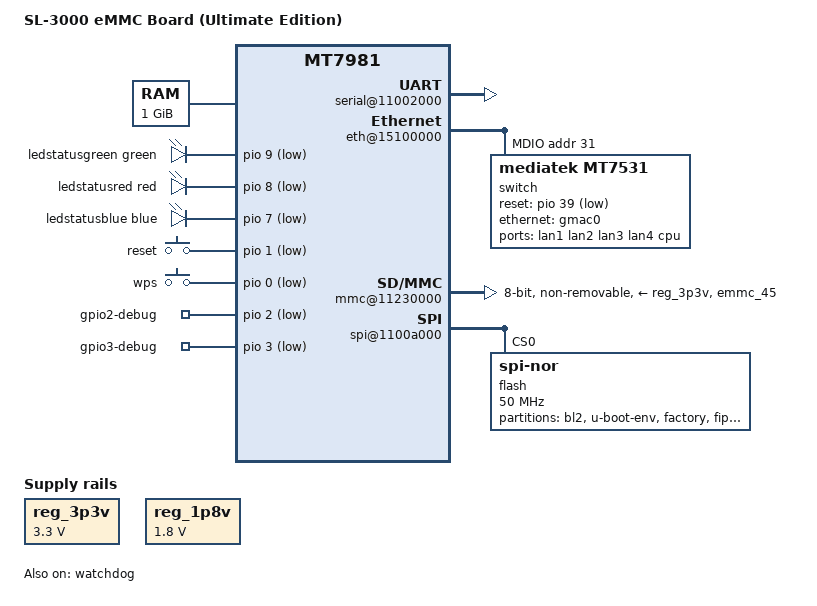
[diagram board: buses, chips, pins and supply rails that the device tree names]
/dts-v1/;

/* ===== dt-bindings（Linux 6.12 官方路径） ===== */
#include <dt-bindings/gpio/gpio.h>
#include <dt-bindings/input/linux-event-codes.h>
#include <dt-bindings/leds/common.h>
#include <dt-bindings/interrupt-controller/irq.h>
#include <dt-bindings/pinctrl/mt65xx.h>

/* ===== SoC 基础层 ===== */
#include "../../../../../arch/arm64/boot/dts/mediatek/mt7981b.dtsi"

/ {
	model = "SL-3000 eMMC Board (Ultimate Edition)";
	compatible = "sl,sl3000-emmc", "mediatek,mt7981";

	/* ===========================
	 * 内存（1GB）
	 =========================== */
	memory@40000000 {
		device_type = "memory";
		reg = <0 0x40000000 0 0x40000000>;
	};

	/* ===========================
	 * 电源（WiFi / eMMC / SPI NOR）
	 =========================== */
	reg_3p3v: regulator-3p3v {
		compatible = "regulator-fixed";
		regulator-name = "fixed-3.3v";
		regulator-min-microvolt = <3300000>;
		regulator-max-microvolt = <3300000>;
		regulator-always-on;
	};

	reg_1p8v: regulator-1p8v {
		compatible = "regulator-fixed";
		regulator-name = "fixed-1.8v";
		regulator-min-microvolt = <1800000>;
		regulator-max-microvolt = <1800000>;
		regulator-always-on;
	};

	/* ===========================
	 * CPU OPP 表（本地定义）
	 =========================== */
	cpuopptable: cpu-opp-table {
		compatible = "operating-points-v2";

		opp-650000000 {
			opp-hz = /bits/ 64 <650000000>;
			opp-microvolt = <800000>;
		};

		opp-850000000 {
			opp-hz = /bits/ 64 <850000000>;
			opp-microvolt = <850000>;
		};

		opp-1000000000 {
			opp-hz = /bits/ 64 <1000000000>;
			opp-microvolt = <900000>;
		};
	};

	/* ===========================
	 * LED（带触发器）
	 =========================== */
	leds {
		compatible = "gpio-leds";

		ledstatusgreen: status_green {
			function = LED_FUNCTION_STATUS;
			color = <LED_COLOR_ID_GREEN>;
			gpios = <&pio 9 GPIO_ACTIVE_LOW>;
			linux,default-trigger = "heartbeat";
		};

		ledstatusred: status_red {
			function = LED_FUNCTION_FAULT;
			color = <LED_COLOR_ID_RED>;
			gpios = <&pio 8 GPIO_ACTIVE_LOW>;
			linux,default-trigger = "panic";
		};

		ledstatusblue: status_blue {
			function = LED_FUNCTION_WLAN;
			color = <LED_COLOR_ID_BLUE>;
			gpios = <&pio 7 GPIO_ACTIVE_LOW>;
			linux,default-trigger = "phy0tpt";
		};
	};

	/* ===========================
	 * 按键（带 debounce）
	 =========================== */
	keys {
		compatible = "gpio-keys";

		reset {
			label = "reset";
			gpios = <&pio 1 GPIO_ACTIVE_LOW>;
			linux,code = <KEY_RESTART>;
			debounce-interval = <10>;
		};

		wps {
			label = "wps";
			gpios = <&pio 0 GPIO_ACTIVE_LOW>;
			linux,code = <KEY_WPS_BUTTON>;
			debounce-interval = <10>;
		};
	};

	/* ===========================
	 * GPIO 导出（调试）
	 =========================== */
	gpio-export {
		compatible = "gpio-export";
		#size-cells = <0>;

		gpiodebug2 {
			gpio-export,name = "gpio2-debug";
			gpio-export,output = <0>;
			gpios = <&pio 2 GPIO_ACTIVE_LOW>;
		};

		gpiodebug3 {
			gpio-export,name = "gpio3-debug";
			gpio-export,output = <0>;
			gpios = <&pio 3 GPIO_ACTIVE_LOW>;
		};
	};

	/* ===========================
	 * 别名（路径引用）
	 =========================== */
	aliases {
		serial0 = &{/soc/serial@11002000};
		label-mac-device = &gmac0;

		led-boot = &ledstatusgreen;
		led-failsafe = &ledstatusred;
		led-running = &ledstatusgreen;
		led-upgrade = &ledstatusblue;
	};

	chosen {
		stdout-path = "serial0:115200n8";
		bootargs = "console=ttyS0,115200 earlycon root=/dev/mmcblk0p5";
	};
};

/* ===========================
 * reserved-memory（扩展 SoC 节点）
 =========================== */
&reserved_memory {
	wifi_emi: wifi@47c80000 {
		reg = <0 0x47c80000 0 0x100000>;
		no-map;
	};

	wo_emi0: wo-emi@47d80000 {
		reg = <0 0x47d80000 0 0x40000>;
		no-map;
	};

	wo_data: wo-data@47dc0000 {
		reg = <0 0x47dc0000 0 0x240000>;
		no-map;
	};
};

/* ===========================
 * CPU / Thermal
 =========================== */
&{/cpus/cpu@0} {
	status = "okay";
	operating-points-v2 = <&cpuopptable>;
};

&{/thermal-zones} {
	/* thermal-zones 是容器节点，不覆盖子节点 */
};

/* ===========================
 * UART
 =========================== */
&{/soc/serial@11002000} {
	status = "okay";
};

/* ===========================
 * Watchdog
 =========================== */
&watchdog {
	status = "okay";
	timeout-sec = <30>;
};

/* ===========================
 * RNG
 =========================== */
&{/soc/rng@1020f000} {
	status = "okay";
};

/* ===========================
 * Ethernet + MT7531 + WED
 =========================== */
&{/soc/eth@15100000} {
	status = "okay";
	mediatek,eth-wed-enable = <1>;

	gmac0: mac@0 {
		compatible = "mediatek,eth-mac";
		reg = <0>;
		phy-mode = "2500base-x";

		fixed-link {
			speed = <2500>;
			full-duplex;
			pause;
		};
	};

	mdio-bus {
		#address-cells = <1>;
		#size-cells = <0>;

		switch@1f {
			compatible = "mediatek,mt7531";
			reg = <0x1f>;
			reset-gpios = <&pio 39 GPIO_ACTIVE_LOW>;

			ports {
				#address-cells = <1>;
				#size-cells = <0>;

				port@0 { reg = <0>; label = "lan1"; };
				port@1 { reg = <1>; label = "lan2"; };
				port@2 { reg = <2>; label = "lan3"; };
				port@3 { reg = <3>; label = "lan4"; };

				port@6 {
					reg = <6>;
					label = "cpu";
					ethernet = <&gmac0>;
					phy-mode = "2500base-x";

					fixed-link {
						speed = <2500>;
						full-duplex;
						pause;
					};
				};
			};
		};
	};
};

/* ===========================
 * eMMC
 =========================== */
&{/soc/mmc@11230000} {
	status = "okay";
	bus-width = <8>;
	max-frequency = <200000000>;

	pinctrl-names = "default", "state_uhs";
	pinctrl-0 = <&mmc0_pins_default>;
	pinctrl-1 = <&mmc0_pins_uhs>;

	cap-mmc-highspeed;
	mmc-hs200-1_8v;
	mmc-hs400-1_8v;

	vmmc-supply = <&reg_3p3v>;
	vqmmc-supply = <&reg_1p8v>;

	non-removable;
};

/* ===========================
 * SPI NOR
 =========================== */
&{/soc/spi@1100a000} {
	status = "okay";
	num-cs = <1>;
	pinctrl-names = "default";

	flash@0 {
		compatible = "jedec,spi-nor";
		reg = <0>;
		spi-max-frequency = <50000000>;

		partitions {
			compatible = "fixed-partitions";
			#address-cells = <1>;
			#size-cells = <1>;

			partition@0 {
				label = "bl2";
				reg = <0x00000 0x0100000>;
				read-only;
			};

			partition@100000 {
				label = "u-boot-env";
				reg = <0x100000 0x0080000>;
			};

			factory: partition@180000 {
				label = "factory";
				reg = <0x180000 0x0200000>;
				read-only;
			};

			partition@380000 {
				label = "fip";
				reg = <0x380000 0x0200000>;
				read-only;
			};

			partition@580000 {
				label = "recovery";
				reg = <0x580000 0x02000000>;
			};
		};
	};
};

/* ===========================
 * WiFi
 =========================== */
&{/soc/wifi@18000000} {
	status = "okay";
	mediatek,mtd-eeprom = <&factory 0x0000>;
	mediatek,eeprom-checksum = <1>;
};

/* ===========================
 * Pinmux（eMMC）
 =========================== */
&pio {
	mmc0_pins_default: mmc0-pins-default {
		mux {
			function = "flash";
			groups = "emmc_45";
		};
	};

	mmc0_pins_uhs: mmc0-pins-uhs {
		mux {
			function = "flash";
			groups = "emmc_45";
		};
	};
};
